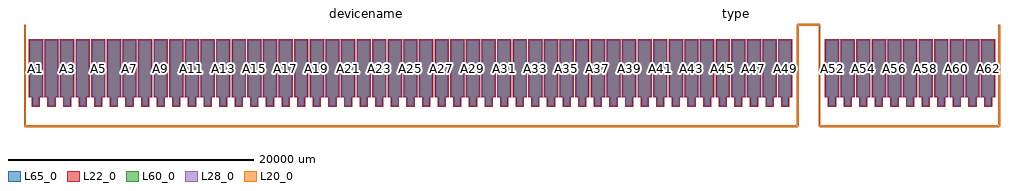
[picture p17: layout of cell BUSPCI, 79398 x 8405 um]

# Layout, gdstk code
import gdstk
lib = gdstk.Library(unit=1e-6, precision=1e-09)
def R(c, l, rs):  # rectangles x0, y0, x1, y1
    for r in rs: c.add(gdstk.rectangle(r[:2], r[2:], *l))
def A(c, l, x, y, w, h, nx, ny, dx, dy):  # array of equal rectangles
    R(c, l, [(x+i*dx, y+j*dy, x+i*dx+w, y+j*dy+h) for i in range(nx) for j in range(ny)])
L20_0 = (20, 0)
L22_0 = (22, 0)
L28_0 = (28, 0)
L60_0 = (60, 0)
L65_0 = (65, 0)

buspci = lib.new_cell('BUSPCI')
A(buspci, L22_0, -63194, -2869, 658, 912, 49, 1, 1270, 0)
A(buspci, L22_0, 1576, -2869, 658, 912, 11, 1, 1270, 0)
A(buspci, L22_0, -63448, -2107, 1166, 4722, 49, 1, 1270, 0)
A(buspci, L22_0, 1322, -2107, 1166, 4722, 11, 1, 1270, 0)
A(buspci, L28_0, -63119, -2794, 508, 762, 49, 1, 1270, 0)
A(buspci, L28_0, 1651, -2794, 508, 762, 11, 1, 1270, 0)
A(buspci, L28_0, -63373, -2032, 1016, 4572, 49, 1, 1270, 0)
A(buspci, L28_0, 1397, -2032, 1016, 4572, 11, 1, 1270, 0)
A(buspci, L60_0, -63119, -2794, 508, 762, 49, 1, 1270, 0)
A(buspci, L60_0, 1651, -2794, 508, 762, 11, 1, 1270, 0)
A(buspci, L60_0, -63373, -2032, 1016, 4572, 49, 1, 1270, 0)
A(buspci, L60_0, 1397, -2032, 1016, 4572, 11, 1, 1270, 0)
A(buspci, L65_0, -63194, -2869, 658, 912, 49, 1, 1270, 0)
A(buspci, L65_0, 1576, -2869, 658, 912, 11, 1, 1270, 0)
A(buspci, L65_0, -63448, -2107, 1166, 4722, 49, 1, 1270, 0)
A(buspci, L65_0, 1322, -2107, 1166, 4722, 11, 1, 1270, 0)
buspci.add(gdstk.FlexPath([(15494,-4445),(15494,3810)], 149.998, ends="flush", simple_path=True, layer=20, datatype=0))  # L20_0
buspci.add(gdstk.FlexPath([(889,-4445),(15494,-4445)], 149.998, ends="flush", simple_path=True, layer=20, datatype=0))  # L20_0
buspci.add(gdstk.FlexPath([(889,3810),(889,-4445)], 149.998, ends="flush", simple_path=True, layer=20, datatype=0))  # L20_0
buspci.add(gdstk.FlexPath([(-889,3810),(889,3810)], 149.998, ends="flush", simple_path=True, layer=20, datatype=0))  # L20_0
buspci.add(gdstk.FlexPath([(-889,-4445),(-889,3810)], 149.998, ends="flush", simple_path=True, layer=20, datatype=0))  # L20_0
buspci.add(gdstk.FlexPath([(-63754,-4445),(-889,-4445)], 149.998, ends="flush", simple_path=True, layer=20, datatype=0))  # L20_0
buspci.add(gdstk.FlexPath([(-63754,3810),(-63754,-4445)], 149.998, ends="flush", simple_path=True, layer=20, datatype=0))  # L20_0
buspci.add(gdstk.Label('A62', (14605,254), layer=60, texttype=0))
buspci.add(gdstk.Label('A61', (13335,254), layer=60, texttype=0))
buspci.add(gdstk.Label('A60', (12065,254), layer=60, texttype=0))
buspci.add(gdstk.Label('A59', (10795,254), layer=60, texttype=0))
buspci.add(gdstk.Label('A58', (9525,254), layer=60, texttype=0))
buspci.add(gdstk.Label('A57', (8255,254), layer=60, texttype=0))
buspci.add(gdstk.Label('A56', (6985,254), layer=60, texttype=0))
buspci.add(gdstk.Label('A55', (5715,254), layer=60, texttype=0))
buspci.add(gdstk.Label('A54', (4445,254), layer=60, texttype=0))
buspci.add(gdstk.Label('A53', (3175,254), layer=60, texttype=0))
buspci.add(gdstk.Label('A52', (1905,254), layer=60, texttype=0))
buspci.add(gdstk.Label('A49', (-1905,254), layer=60, texttype=0))
buspci.add(gdstk.Label('A48', (-3175,254), layer=60, texttype=0))
buspci.add(gdstk.Label('A47', (-4445,254), layer=60, texttype=0))
buspci.add(gdstk.Label('A46', (-5715,254), layer=60, texttype=0))
buspci.add(gdstk.Label('A45', (-6985,254), layer=60, texttype=0))
buspci.add(gdstk.Label('A44', (-8255,254), layer=60, texttype=0))
buspci.add(gdstk.Label('A43', (-9525,254), layer=60, texttype=0))
buspci.add(gdstk.Label('A42', (-10795,254), layer=60, texttype=0))
buspci.add(gdstk.Label('A41', (-12065,254), layer=60, texttype=0))
buspci.add(gdstk.Label('A40', (-13335,254), layer=60, texttype=0))
buspci.add(gdstk.Label('A39', (-14605,254), layer=60, texttype=0))
buspci.add(gdstk.Label('A38', (-15875,254), layer=60, texttype=0))
buspci.add(gdstk.Label('A37', (-17145,254), layer=60, texttype=0))
buspci.add(gdstk.Label('A36', (-18415,254), layer=60, texttype=0))
buspci.add(gdstk.Label('A35', (-19685,254), layer=60, texttype=0))
buspci.add(gdstk.Label('A34', (-20955,254), layer=60, texttype=0))
buspci.add(gdstk.Label('A33', (-22225,254), layer=60, texttype=0))
buspci.add(gdstk.Label('A32', (-23495,254), layer=60, texttype=0))
buspci.add(gdstk.Label('A31', (-24765,254), layer=60, texttype=0))
buspci.add(gdstk.Label('A30', (-26035,254), layer=60, texttype=0))
buspci.add(gdstk.Label('A29', (-27305,254), layer=60, texttype=0))
buspci.add(gdstk.Label('A28', (-28575,254), layer=60, texttype=0))
buspci.add(gdstk.Label('A27', (-29845,254), layer=60, texttype=0))
buspci.add(gdstk.Label('A26', (-31115,254), layer=60, texttype=0))
buspci.add(gdstk.Label('A25', (-32385,254), layer=60, texttype=0))
buspci.add(gdstk.Label('A24', (-33655,254), layer=60, texttype=0))
buspci.add(gdstk.Label('A23', (-34925,254), layer=60, texttype=0))
buspci.add(gdstk.Label('A22', (-36195,254), layer=60, texttype=0))
buspci.add(gdstk.Label('A21', (-37465,254), layer=60, texttype=0))
buspci.add(gdstk.Label('A20', (-38735,254), layer=60, texttype=0))
buspci.add(gdstk.Label('A19', (-40005,254), layer=60, texttype=0))
buspci.add(gdstk.Label('A18', (-41275,254), layer=60, texttype=0))
buspci.add(gdstk.Label('A17', (-42545,254), layer=60, texttype=0))
buspci.add(gdstk.Label('A16', (-43815,254), layer=60, texttype=0))
buspci.add(gdstk.Label('A15', (-45085,254), layer=60, texttype=0))
buspci.add(gdstk.Label('A14', (-46355,254), layer=60, texttype=0))
buspci.add(gdstk.Label('A13', (-47625,254), layer=60, texttype=0))
buspci.add(gdstk.Label('A12', (-48895,254), layer=60, texttype=0))
buspci.add(gdstk.Label('A11', (-50165,254), layer=60, texttype=0))
buspci.add(gdstk.Label('A10', (-51435,254), layer=60, texttype=0))
buspci.add(gdstk.Label('A9', (-52705,254), layer=60, texttype=0))
buspci.add(gdstk.Label('A8', (-53975,254), layer=60, texttype=0))
buspci.add(gdstk.Label('A7', (-55245,254), layer=60, texttype=0))
buspci.add(gdstk.Label('A6', (-56515,254), layer=60, texttype=0))
buspci.add(gdstk.Label('A5', (-57785,254), layer=60, texttype=0))
buspci.add(gdstk.Label('A4', (-59055,254), layer=60, texttype=0))
buspci.add(gdstk.Label('A3', (-60325,254), layer=60, texttype=0))
buspci.add(gdstk.Label('A2', (-61595,254), layer=60, texttype=0))
buspci.add(gdstk.Label('A1', (-62865,254), layer=60, texttype=0))
buspci.add(gdstk.Label('B62', (14605,254), layer=28, texttype=0))
buspci.add(gdstk.Label('B61', (13335,254), layer=28, texttype=0))
buspci.add(gdstk.Label('B60', (12065,254), layer=28, texttype=0))
buspci.add(gdstk.Label('B59', (10795,254), layer=28, texttype=0))
buspci.add(gdstk.Label('B58', (9525,254), layer=28, texttype=0))
buspci.add(gdstk.Label('B57', (8255,254), layer=28, texttype=0))
buspci.add(gdstk.Label('B56', (6985,254), layer=28, texttype=0))
buspci.add(gdstk.Label('B55', (5715,254), layer=28, texttype=0))
buspci.add(gdstk.Label('B54', (4445,254), layer=28, texttype=0))
buspci.add(gdstk.Label('B53', (3175,254), layer=28, texttype=0))
buspci.add(gdstk.Label('B52', (1905,254), layer=28, texttype=0))
buspci.add(gdstk.Label('B49', (-1905,254), layer=28, texttype=0))
buspci.add(gdstk.Label('B48', (-3175,254), layer=28, texttype=0))
buspci.add(gdstk.Label('B47', (-4445,254), layer=28, texttype=0))
buspci.add(gdstk.Label('B46', (-5715,254), layer=28, texttype=0))
buspci.add(gdstk.Label('B45', (-6985,254), layer=28, texttype=0))
buspci.add(gdstk.Label('B44', (-8255,254), layer=28, texttype=0))
buspci.add(gdstk.Label('B43', (-9525,254), layer=28, texttype=0))
buspci.add(gdstk.Label('B42', (-10795,254), layer=28, texttype=0))
buspci.add(gdstk.Label('B41', (-12065,254), layer=28, texttype=0))
buspci.add(gdstk.Label('B40', (-13335,254), layer=28, texttype=0))
buspci.add(gdstk.Label('B39', (-14605,254), layer=28, texttype=0))
buspci.add(gdstk.Label('B38', (-15875,254), layer=28, texttype=0))
buspci.add(gdstk.Label('B37', (-17145,254), layer=28, texttype=0))
buspci.add(gdstk.Label('B36', (-18415,254), layer=28, texttype=0))
buspci.add(gdstk.Label('B35', (-19685,254), layer=28, texttype=0))
buspci.add(gdstk.Label('B34', (-20955,254), layer=28, texttype=0))
buspci.add(gdstk.Label('B33', (-22225,254), layer=28, texttype=0))
buspci.add(gdstk.Label('B32', (-23495,254), layer=28, texttype=0))
buspci.add(gdstk.Label('B31', (-24765,254), layer=28, texttype=0))
buspci.add(gdstk.Label('B30', (-26035,254), layer=28, texttype=0))
buspci.add(gdstk.Label('B29', (-27305,254), layer=28, texttype=0))
buspci.add(gdstk.Label('B28', (-28575,254), layer=28, texttype=0))
buspci.add(gdstk.Label('B27', (-29845,254), layer=28, texttype=0))
buspci.add(gdstk.Label('B26', (-31115,254), layer=28, texttype=0))
buspci.add(gdstk.Label('B25', (-32385,254), layer=28, texttype=0))
buspci.add(gdstk.Label('B24', (-33655,254), layer=28, texttype=0))
buspci.add(gdstk.Label('B23', (-34925,254), layer=28, texttype=0))
buspci.add(gdstk.Label('B22', (-36195,254), layer=28, texttype=0))
buspci.add(gdstk.Label('B21', (-37465,254), layer=28, texttype=0))
buspci.add(gdstk.Label('B20', (-38735,254), layer=28, texttype=0))
buspci.add(gdstk.Label('B19', (-40005,254), layer=28, texttype=0))
buspci.add(gdstk.Label('B18', (-41275,254), layer=28, texttype=0))
buspci.add(gdstk.Label('B17', (-42545,254), layer=28, texttype=0))
buspci.add(gdstk.Label('B16', (-43815,254), layer=28, texttype=0))
buspci.add(gdstk.Label('B15', (-45085,254), layer=28, texttype=0))
buspci.add(gdstk.Label('B14', (-46355,254), layer=28, texttype=0))
buspci.add(gdstk.Label('B13', (-47625,254), layer=28, texttype=0))
buspci.add(gdstk.Label('B12', (-48895,254), layer=28, texttype=0))
buspci.add(gdstk.Label('B11', (-50165,254), layer=28, texttype=0))
buspci.add(gdstk.Label('B10', (-51435,254), layer=28, texttype=0))
buspci.add(gdstk.Label('B9', (-52705,254), layer=28, texttype=0))
buspci.add(gdstk.Label('B8', (-53975,254), layer=28, texttype=0))
buspci.add(gdstk.Label('B7', (-55245,254), layer=28, texttype=0))
buspci.add(gdstk.Label('B6', (-56515,254), layer=28, texttype=0))
buspci.add(gdstk.Label('B5', (-57785,254), layer=28, texttype=0))
buspci.add(gdstk.Label('B4', (-59055,254), layer=28, texttype=0))
buspci.add(gdstk.Label('B3', (-60325,254), layer=28, texttype=0))
buspci.add(gdstk.Label('B2', (-61595,254), layer=28, texttype=0))
buspci.add(gdstk.Label('B1', (-62865,254), layer=28, texttype=0))
buspci.add(gdstk.Label('type', (-5842,4699), layer=9, texttype=0))
buspci.add(gdstk.Label('devicename', (-35941,4699), layer=9, texttype=0))

lib.write_gds('BUSPCI.gds')
